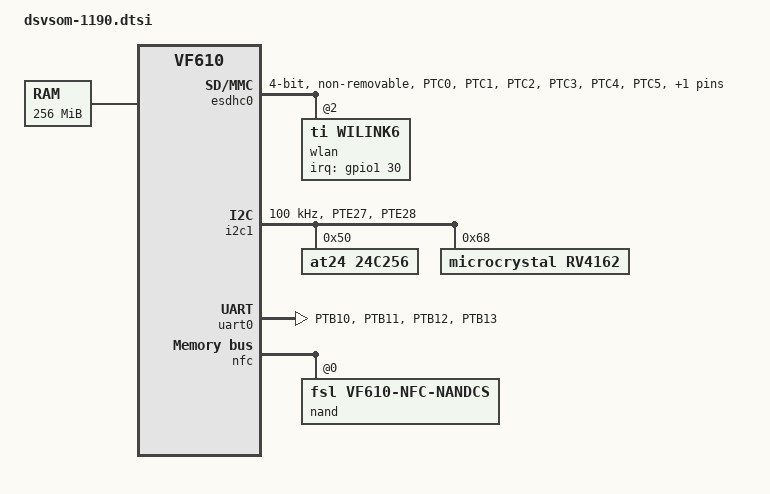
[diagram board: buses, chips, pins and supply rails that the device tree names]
/*
 * Copyright 2015 DataSoft Corporation
 *
 * This program is free software; you can redistribute it and/or modify
 * it under the terms of the GNU General Public License as published by
 * the Free Software Foundation; either version 2 of the License, or
 * (at your option) any later version.
 */

#include "vf610.dtsi"

/ {
	compatible = "ds,dsvsom", "fsl,vf610-twr", "fsl,vf610";

	memory {
		reg = <0x80000000 0x10000000>;
	};

	aliases {
		mmc0 = &esdhc0;
	};

	kim {
		compatible = "kim";
		nshutdown_gpio = <22>;
		dev_name = "/dev/ttyLP0";
		flow_cntrl = <1>;
		baud_rate = <3000000>;
	};

	btwilink {
		compatible = "btwilink";
		pinctrl-names = "default";
		pinctrl-0 = <&pinctrl_bt>;
		status = "okay";
	};
};

&snvs0 {
	status = "disabled";
};

&L2 {
	status = "disabled";
};

&edma0 {
	status = "okay";
};

&esdhc0 {
	pinctrl-names = "default";
	pinctrl-0 = <&pinctrl_esdhc0>;
	bus-width = <4>;
	non-removable;
	no-1-8-v;
	en-gpios = <&gpio1 23 GPIO_ACTIVE_HIGH>;				/* GPIO_TIWI_WL_EN_3V3 */
	status = "okay";

	#address-cells = <1>;
	#size-cells = <0>;
	wlan: wilink6@2 {
		compatible = "ti,wilink6";
		pinctrl-names = "default";
		pinctrl-0 = <&pinctrl_wlan>;
		reg = <2>;
		interrupt-parent = <&gpio1>;
		interrupts = <30 IRQ_TYPE_EDGE_RISING>;				/* GPIO_WLAN_NIRQ_3V3 */
		clocks = <&refclock>;
		clock-names = "refclock";

		refclock: refclock {
			compatible = "ti,wilink-clock";
			#clock-cells = <0>;
			clock-frequency = <38400000>;
		};
	};
};

&iomuxc {
	dsvsom-1190 {

		pinctrl_bt: btgrp {
			fsl,pins = <
				VF610_PAD_PTB0__GPIO_22			0x0182 /* GPIO_TIWI_BT_EN_3V3 */
				VF610_PAD_PTB9__GPIO_31			0x0182 /* GPIO_TIWI_AUD_DIR */
			>;
		};

		pinctrl_wlan: wlangrp {
			fsl,pins = <
				VF610_PAD_PTB8__GPIO_30			0x01ad /* GPIO_WLAN_NIRQ_3V3 */
			>;
		};

		pinctrl_eeprom: eepromgrp {
			fsl,pins = <
				VF610_PAD_PTB3__GPIO_25			0x0182 /* GPIO_EEP_WP */
			>;
		};

		pinctrl_uart0: uart0grp {
			fsl,pins = <
				VF610_PAD_PTB10__UART0_TX		0x2182
				VF610_PAD_PTB11__UART0_RX		0x21ad
				VF610_PAD_PTB12__UART0_RTS		0x2182
				VF610_PAD_PTB13__UART0_CTS		0x21ad
			>;
		};

		pinctrl_esdhc0: esdhc0grp {
			fsl,pins = <
				VF610_PAD_PTC0__ESDHC0_CLK		0x31ef
				VF610_PAD_PTC1__ESDHC0_CMD		0x31ef
				VF610_PAD_PTC2__ESDHC0_DAT0		0x31ef
				VF610_PAD_PTC3__ESDHC0_DAT1		0x31ef
				VF610_PAD_PTC4__ESDHC0_DAT2		0x31ef
				VF610_PAD_PTC5__ESDHC0_DAT3		0x31ef
				VF610_PAD_PTB1__GPIO_23			0x0182 /* GPIO_TIWI_WL_EN_3V3 */
			>;
		};

		pinctrl_i2c1: i2c1grp {
			fsl,pins = <
				VF610_PAD_PTE27__I2C1_SCL		0x05ef
				VF610_PAD_PTE28__I2C1_SDA		0x05ef
			>;
		};
	};
};

&i2c1 {
	clock-frequency = <100000>;
	pinctrl-names = "default";
	pinctrl-0 = <&pinctrl_i2c1>;
	status = "okay";

	at24@50 {
		compatible = "at24,24c256";
		pagesize = <64>;
		reg = <0x50>;
		pinctrl-names = "default";
		pinctrl-0 = <&pinctrl_eeprom>;
	};

	rv4162@68 {
		compatible = "microcrystal,rv4162";
		reg = <0x68>;
	};
};

&uart0 {
	pinctrl-names = "default";
	pinctrl-0 = <&pinctrl_uart0>;
	status = "okay";
};

&nfc {
	clock-frequency = <33000000>;
	status = "okay";

	nand@0 {
		compatible = "fsl,vf610-nfc-nandcs";
		reg = <0>;
		#address-cells = <1>;
		#size-cells = <1>;
		nand-bus-width = <8>;
		nand-ecc-mode = "hw";
		nand-ecc-strength = <32>;
		nand-ecc-step-size = <2048>;
		nand-on-flash-bbt;
	};
};

